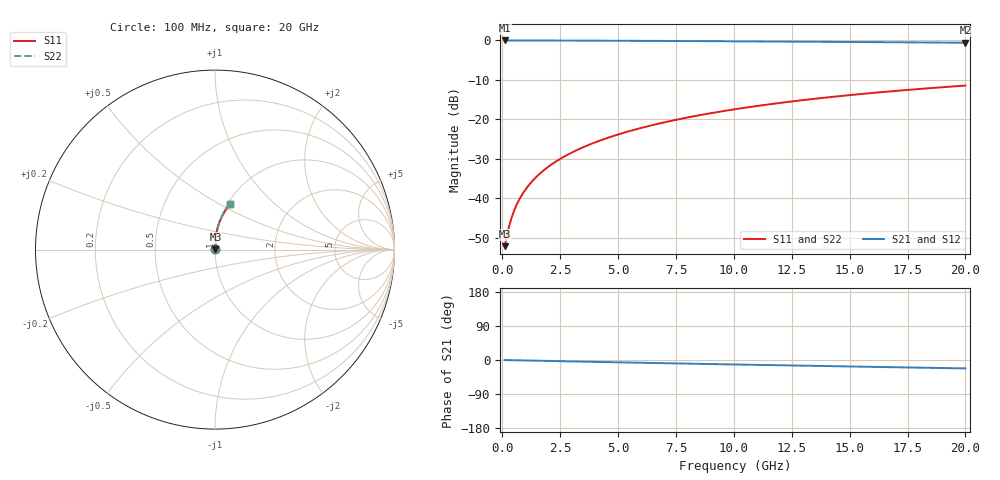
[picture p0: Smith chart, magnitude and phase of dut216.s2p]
! Touchstone file exported from HFSS 2024.1.0
!  File:  C:/UserFiles/LocalFiles/RDL_TSV_Batchsim/temp_RDL_bottom_216_1778700208.aedt
!  Generated:  03:26:15 AM May 14, 2026
!  Design:  RDL_bottom
!  Project:  temp_RDL_bottom_216_1778700208
!  Setup:  Setup1
!  Solution:  Sweep
! Variables:
!  dtsv = 10.80580581um
!  hbump = 3um
!  htsv = 80.46um
!  ldown = 235.84um
!  lrdl = 100um
!  p = 40
!  p1 = 59.62um
!  rhole = 1um
!  t = 450um
!  tdown = 2.29um
!  trdl = 3.915915916um
!  wdown = 20.69um
!  wrdl = 20um
# GHz S MA R 50.000000
! Terminal data exported
! Port[1] = RDL1_T1
! Port[2] = RDL1_T2
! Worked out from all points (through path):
!   200 points, 100 MHz to 20 GHz, reference 50 ohm
!   highest |S21| = -0.02 dB at 100 MHz (marker M1); lowest = -0.6 dB at 20 GHz (marker M2)
!   group delay of S21, straight-line fit = 3.06 ps
!   lowest |S11| = -52.1 dB at 100 MHz (marker M3), VSWR 1.01, Z = 50.2 + j0.134 ohm
!   |S11| at or under -10 dB: start of sweep to end of sweep
!   |S22| runs from -52.1 to -11.4 dB; largest |S21 - S12| = 2e-15
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0.1  0.002494 32.3  0.9979 -0.1  0.9979 -0.1  0.002494 32.3
! Gamma 0 0 0 0
! Port Impedance 50 0 50 0
0.2  0.003411 51.0  0.9978 -0.3  0.9978 -0.3  0.003411 51.0
0.3  0.004522 60.9  0.9978 -0.4  0.9978 -0.4  0.004522 60.9
0.4  0.005699 66.6  0.9977 -0.5  0.9977 -0.5  0.005699 66.6
0.5  0.006898 70.4  0.9976 -0.6  0.9976 -0.6  0.006898 70.4
0.6  0.008105 73.0  0.9975 -0.8  0.9975 -0.8  0.008105 73.0
0.8  0.01053 76.5  0.9973 -1.0  0.9973 -1.0  0.01053 76.5
1.1  0.01419 79.7  0.997 -1.4  0.997 -1.4  0.01419 79.7
1.5  0.01913 82.1  0.9966 -1.9  0.9966 -1.9  0.01913 82.1
1.8  0.02287 83.2  0.9962 -2.3  0.9962 -2.3  0.02287 83.2
2.1  0.02664 84.0  0.9958 -2.6  0.9958 -2.6  0.02664 84.0
2.7  0.03426 85.1  0.9948 -3.4  0.9948 -3.4  0.03426 85.1
3.5  0.0446 85.7  0.9932 -4.4  0.9932 -4.4  0.0446 85.7
4.2  0.0538 86.0  0.9916 -5.2  0.9916 -5.2  0.0538 86.0
5  0.0645 85.9  0.9895 -6.1  0.9895 -6.1  0.0645 85.9
5.9  0.07674 85.6  0.9869 -7.2  0.9869 -7.2  0.07674 85.6
6.8  0.08915 85.1  0.9842 -8.2  0.9842 -8.2  0.08915 85.1
8.4  0.1115 83.9  0.9789 -10.0  0.9789 -10.0  0.1115 83.9
10.1  0.1354 82.3  0.9731 -11.9  0.9731 -11.9  0.1354 82.3
13.4  0.1813 78.7  0.9609 -15.4  0.9609 -15.4  0.1813 78.7
16.7  0.2258 75.1  0.9479 -18.9  0.9479 -18.9  0.2258 75.1
20  0.2683 71.5  0.9341 -22.2  0.9341 -22.2  0.2682 71.5
